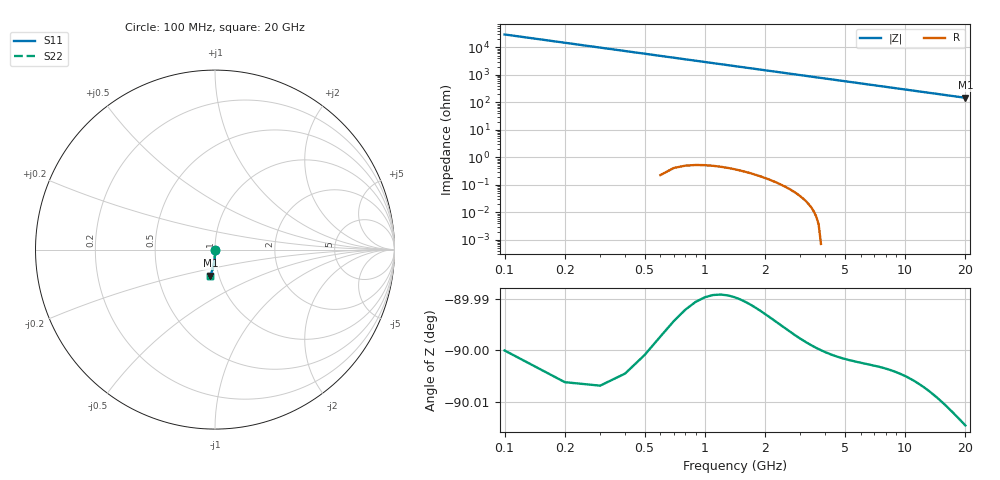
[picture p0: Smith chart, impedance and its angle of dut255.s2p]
! Touchstone file exported from HFSS 2026.1.0
!  File:  C:/ffzhzh/LocalFiles/Ansys_Project_Files/temp_train_TSV_255_1782992975_41620.aedt
!  Generated:  07:50:54 PM Jul  2, 2026
!  Design:  TSV
!  Project:  temp_train_TSV_255_1782992975_41620
! Variables:
!  h_bsmrdl = 2um
!  h_ox = 20um
!  h_rdl = 5um
!  h_sub = 74.33um
!  h_tmrdl = 5um
!  h_tsv = 74.33um
!  h_via = 3um
!  l_bsmrdl = 300um
!  l_sub = 418.34um
!  l_tmrdl = 200um
!  m_sub = 200um
!  pitch = 20.19um
!  r_tsv = 9.17um
!  s_tmrdl = 10um
!  w_bsmrdl = 18um
!  w_sub = 500um
!  w_tmrdl = 12um
!  x_tsv_center1 = 206um
!  x_tsv_center2 = 524um
!  x_tsv_center3 = 736um
!  x_tsv_center4 = 1054um
!  x_tsv_center5 = 1266um
!  x_tsv_center6 = 1584um
# GHz S MA R 50.000000
! Terminal data exported
! Port[1] = TSV1_1_T1
! Port[2] = TSV1_1_T2
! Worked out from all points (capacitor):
!   200 points, 100 MHz to 20 GHz, reference 50 ohm
!   read as one part in shunt: C = 54.5 fF near 200 MHz
!   lowest |Z| = 146 ohm at 20 GHz (marker M1)
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0.1  0.0006868 -76.3  0.9998 -0.1  0.9998 -0.1  0.0006868 -76.3
! Gamma 0 0 0 0
! Port Impedance 50 0 50 0
0.2  0.001358 -81.9  0.9998 -0.1  0.9998 -0.1  0.001358 -81.9
0.3  0.002049 -83.6  0.9998 -0.2  0.9998 -0.2  0.002049 -83.6
0.4  0.002756 -84.4  0.9997 -0.2  0.9997 -0.2  0.002756 -84.4
0.5  0.003477 -84.9  0.9997 -0.3  0.9997 -0.3  0.003477 -84.9
0.7  0.004941 -85.8  0.9996 -0.4  0.9996 -0.4  0.004941 -85.8
0.8  0.005679 -86.1  0.9996 -0.5  0.9996 -0.5  0.005679 -86.1
1  0.007161 -86.7  0.9995 -0.6  0.9995 -0.6  0.007161 -86.7
1.2  0.008645 -87.2  0.9994 -0.7  0.9994 -0.7  0.008645 -87.2
1.4  0.01013 -87.7  0.9994 -0.8  0.9994 -0.8  0.01013 -87.7
1.7  0.01235 -88.2  0.9993 -1.0  0.9993 -1.0  0.01235 -88.2
2  0.01457 -88.6  0.9993 -1.1  0.9993 -1.1  0.01457 -88.6
2.7  0.01976 -89.4  0.9991 -1.5  0.9991 -1.5  0.01976 -89.4
3.5  0.0257 -90.1  0.9988 -2.0  0.9988 -2.0  0.0257 -90.1
4.2  0.03091 -90.6  0.9986 -2.3  0.9986 -2.3  0.03091 -90.6
5  0.03687 -91.2  0.9983 -2.8  0.9983 -2.8  0.03687 -91.2
6.8  0.05031 -92.4  0.9975 -3.8  0.9975 -3.8  0.05031 -92.4
8.3  0.06151 -93.3  0.9967 -4.6  0.9967 -4.6  0.06151 -93.3
10.1  0.07492 -94.4  0.9957 -5.6  0.9957 -5.6  0.07492 -94.4
13.4  0.09939 -96.4  0.9933 -7.4  0.9933 -7.4  0.09939 -96.4
16.7  0.1237 -98.3  0.9903 -9.2  0.9903 -9.2  0.1237 -98.3
20  0.1477 -100.1  0.9868 -11.0  0.9868 -11.0  0.1477 -100.1
